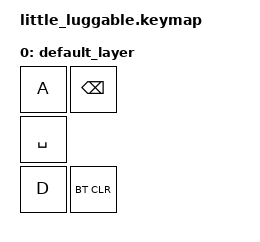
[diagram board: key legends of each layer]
#include <behaviors.dtsi>
#include <dt-bindings/zmk/bt.h>
#include <dt-bindings/zmk/keys.h>

/ {
    keymap {
        compatible = "zmk,keymap";

        default_layer {

            bindings = <
                &kp A             &kp BACKSPACE
                       &kp SPACE
                &kp D             &bt BT_CLR
            >;

        };
    };
};
